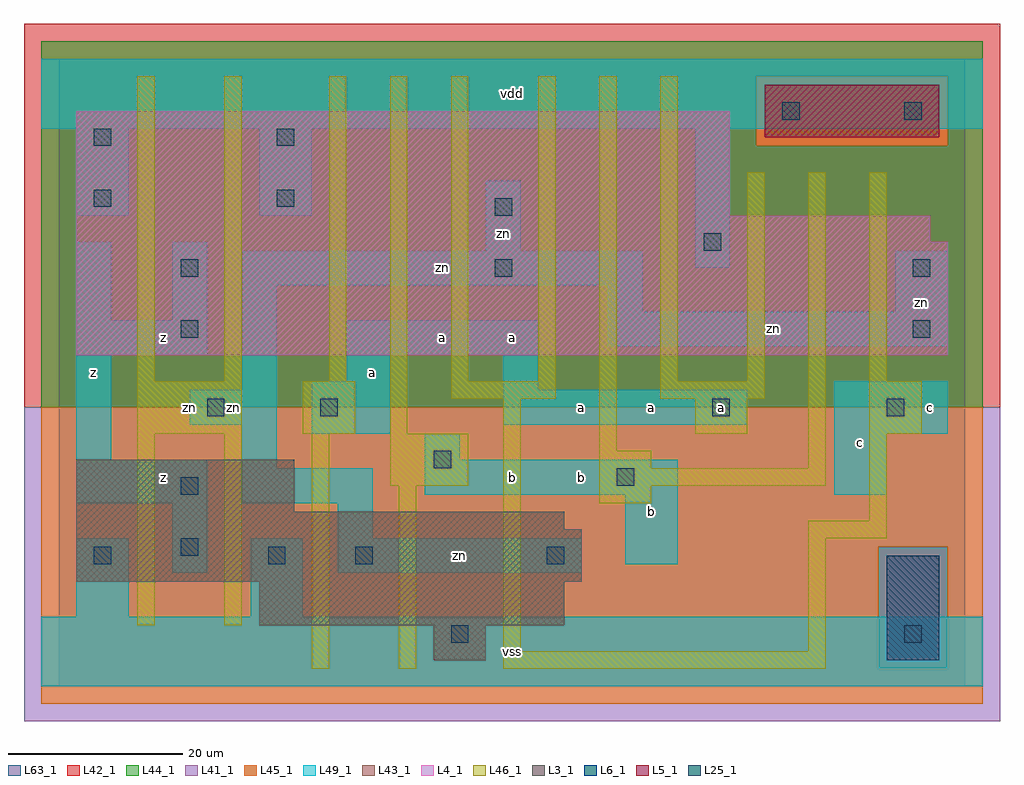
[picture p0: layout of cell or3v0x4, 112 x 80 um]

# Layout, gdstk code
import gdstk
lib = gdstk.Library(unit=1e-6, precision=1e-09)
def R(c, l, rs):  # rectangles x0, y0, x1, y1
    for r in rs: c.add(gdstk.rectangle(r[:2], r[2:], *l))
L3_1 = (3, 1)
L4_1 = (4, 1)
L5_1 = (5, 1)
L6_1 = (6, 1)
L25_1 = (25, 1)
L41_1 = (41, 1)
L42_1 = (42, 1)
L43_1 = (43, 1)
L44_1 = (44, 1)
L45_1 = (45, 1)
L46_1 = (46, 1)
L49_1 = (49, 1)
L63_1 = (63, 1)

or3v0x4 = lib.new_cell('or3v0x4')
R(or3v0x4, L3_1, [(43,3,49,7), (23,7,58,12), (2,12,60,18), (2,18,58,20), (2,20,27,26)])
R(or3v0x4, L4_1, [(2,38,102,51), (2,51,100,54), (2,54,77,66)])
R(or3v0x4, L5_1, [(81,63,101,69)])
R(or3v0x4, L6_1, [(95,3,101,15), (95,3,101,15)])
R(or3v0x4, L25_1, [(45,5,47,7), (97,5,99,7), (4,14,6,16), (24,14,26,16), (34,14,36,16), (56,14,58,16), (14,15,16,17), (14,22,16,24), (64,23,66,25), (43,25,45,27), (17,31,19,33), (30,31,32,33), (75,31,77,33), (95,31,97,33), (14,40,16,42), (98,40,100,42), (14,47,16,49), (50,47,52,49), (98,47,100,49), (74,50,76,52), (50,54,52,56), (4,55,6,57), (25,55,27,57), (4,62,6,64), (25,62,27,64), (83,65,85,67), (97,65,99,67)])
R(or3v0x4, L41_1, [(-4,-4,108,32)])
R(or3v0x4, L42_1, [(-4,32,108,76)])
R(or3v0x4, L43_1, [(43,3,49,7), (95,3,101,15), (23,7,58,12), (2,12,60,18), (2,18,58,20), (2,20,27,26), (2,38,102,51), (2,51,100,54), (2,54,77,66), (81,63,101,69)])
R(or3v0x4, L44_1, [(94,2,102,16), (-2,32,106,62), (-2,62,80,70), (102,62,106,70), (-2,70,106,74)])
R(or3v0x4, L45_1, [(-2,-2,106,2), (-2,2,94,16), (102,2,106,16), (-2,16,106,32), (80,62,102,70)])
R(or3v0x4, L46_1, [(29,2,31,29), (39,2,41,23), (51,2,88,4), (51,4,53,33), (86,4,88,17), (9,7,11,29), (19,7,21,29), (86,17,95,19), (93,19,95,29), (62,21,68,23), (38,23,47,29), (62,23,88,25), (62,25,68,27), (86,25,88,59), (62,27,64,70), (9,29,21,35), (28,29,34,35), (38,29,40,70), (73,29,79,33), (93,29,99,35), (45,33,57,35), (69,33,81,35), (9,35,11,70), (19,35,21,70), (31,35,33,70), (45,35,47,70), (55,35,57,70), (69,35,71,70), (79,35,81,59), (93,35,95,59)])
R(or3v0x4, L49_1, [(-2,0,106,8), (2,8,8,17), (22,8,28,17), (13,13,17,21), (32,13,60,17), (65,14,71,22), (32,17,36,21), (2,21,17,26), (21,21,36,25), (42,22,71,26), (89,22,95,29), (21,25,25,30), (2,26,6,38), (42,26,46,29), (29,29,38,35), (89,29,102,35), (15,30,25,34), (51,30,79,34), (21,34,25,46), (51,34,55,38), (33,35,38,38), (2,38,17,42), (33,38,55,42), (63,39,102,43), (2,42,6,51), (13,42,17,51), (63,43,67,46), (96,43,102,50), (21,46,67,50), (73,48,77,64), (49,50,53,58), (2,54,8,64), (23,54,29,64), (-2,64,106,72)])
R(or3v0x4, L63_1, [(0,0,104,72)])
or3v0x4.add(gdstk.Label('zn', (15,32), layer=46, texttype=1))
or3v0x4.add(gdstk.Label('z', (12,24), layer=49, texttype=1))
or3v0x4.add(gdstk.Label('z', (4,36), layer=49, texttype=1))
or3v0x4.add(gdstk.Label('z', (12,40), layer=49, texttype=1))
or3v0x4.add(gdstk.Label('zn', (20,32), layer=49, texttype=1))
or3v0x4.add(gdstk.Label('a', (36,36), layer=49, texttype=1))
or3v0x4.add(gdstk.Label('vss', (52,4), layer=49, texttype=1))
or3v0x4.add(gdstk.Label('zn', (46,15), layer=49, texttype=1))
or3v0x4.add(gdstk.Label('b', (52,24), layer=49, texttype=1))
or3v0x4.add(gdstk.Label('b', (60,24), layer=49, texttype=1))
or3v0x4.add(gdstk.Label('a', (60,32), layer=49, texttype=1))
or3v0x4.add(gdstk.Label('a', (44,40), layer=49, texttype=1))
or3v0x4.add(gdstk.Label('a', (52,40), layer=49, texttype=1))
or3v0x4.add(gdstk.Label('zn', (51,52), layer=49, texttype=1))
or3v0x4.add(gdstk.Label('vdd', (52,68), layer=49, texttype=1))
or3v0x4.add(gdstk.Label('b', (68,20), layer=49, texttype=1))
or3v0x4.add(gdstk.Label('a', (68,32), layer=49, texttype=1))
or3v0x4.add(gdstk.Label('a', (76,32), layer=49, texttype=1))
or3v0x4.add(gdstk.Label('zn', (44,48), layer=49, texttype=1))
or3v0x4.add(gdstk.Label('c', (100,32), layer=49, texttype=1))
or3v0x4.add(gdstk.Label('c', (92,28), layer=49, texttype=1))
or3v0x4.add(gdstk.Label('zn', (99,44), layer=49, texttype=1))
or3v0x4.add(gdstk.Label('zn', (82,41), layer=49, texttype=1))

lib.write_gds('or3v0x4.gds')
